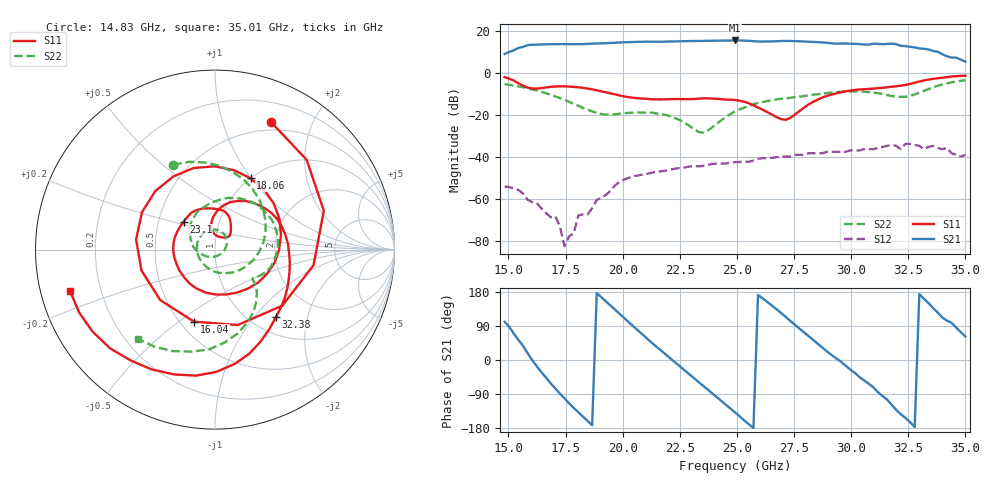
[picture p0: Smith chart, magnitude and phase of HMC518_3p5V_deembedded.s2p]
!Hittite Microwave Corporation
!20 Alpha Road
!Chelmsford, MA 01824
!Tel: 978-250-3343
!Fax: 978-250-3373
!Device: HMC518, 20-32 GHz, GaAs PHEMT MMIC Low Noise Amplifier Die
!Misc: Vdd1 = Vdd2 = Vdd3 = +3.5V, data includes two K connectors, Room
# MHZ S MA R 50
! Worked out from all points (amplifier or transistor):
!   101 points, 14.83 GHz to 35.01 GHz, reference 50 ohm
!   highest |S21| = 15.3 dB at 24.92 GHz (marker M1)
!   |S21| within 3 dB of that: 15.65 GHz to 32.58 GHz (16.92 GHz wide, 70.2 % of centre)
!   unconditionally stable (mu >= 1): start of sweep to end of sweep
!   at 18.06 GHz: K = 208.69, MAG = 14.6 dB, |S12| = -68.1 dB
!   at 24.92 GHz: K = 11.02, MAG = 15.5 dB, |S12| = -42.7 dB
!   at 35.01 GHz: K = 4.08, MAG = 13.1 dB, |S12| = -39.2 dB
!   S11 on the Smith chart (normalised r, x): 14.83 GHz: 0.41, +1.45; 16.04 GHz: 0.59, -0.57; 18.06 GHz: 1.00, +0.99; 23.1 GHz: 0.67, +0.22; 32.38 GHz: 1.28, -1.30; 35.01 GHz: 0.09, -0.14
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14831  0.776 66.3  2.76 100.8  0.00193 -71.0  0.527 116.2
15436.25  0.556 -9.0  3.851 53.1  0.001606 -92.4  0.468 87.1
16041.5  0.418 -106.2  4.59 -0.5  0.0008212 -125.0  0.397 58.0
17050.25  0.466 135.6  4.711 -74.8  0.0003824 -77.1  0.271 7.8
18059  0.444 63.5  4.734 -137.9  0.0003958 -10.2  0.162 -51.7
18260.75  0.432 50.6  4.748 -149.5  0.0004217 22.0  0.144 -65.9
19269.5  0.339 -13.0  4.996 154.4  0.001227 14.5  0.1 -149.5
20278.25  0.258 -76.1  5.295 99.2  0.003124 -26.8  0.11 132.8
21690.5  0.229 -160.6  5.411 24.6  0.00447 -79.6  0.102 65.1
22497.5  0.234 163.1  5.545 -16.3  0.005337 -105.5  0.074 27.0
23102.75  0.234 138.5  5.622 -46.9  0.005965 -125.2  0.046 -17.9
24111.5  0.237 104.9  5.735 -97.5  0.006805 -160.8  0.06 -141.0
24918.5  0.222 78.0  5.802 -138.2  0.007358 166.3  0.119 174.2
25927.25  0.147 52.8  5.48 171.4  0.008853 129.4  0.189 138.7
27137.75  0.075 76.8  5.655 113.8  0.01 78.4  0.243 105.7
28348.25  0.202 89.4  5.361 52.6  0.012 26.6  0.298 75.5
29760.5  0.357 41.5  4.901 -14.8  0.013 -33.2  0.354 32.4
30971  0.414 -3.2  4.866 -71.7  0.015 -81.9  0.334 -11.4
31778  0.458 -28.7  4.882 -118.2  0.019 -118.8  0.277 -33.5
32383.25  0.507 -48.0  4.263 -152.9  0.02 -141.0  0.266 -38.2
33795.5  0.732 -108.2  3.131 125.2  0.016 133.9  0.484 -74.9
35006  0.84 -164.1  1.82 62.0  0.011 81.8  0.657 -130.9
